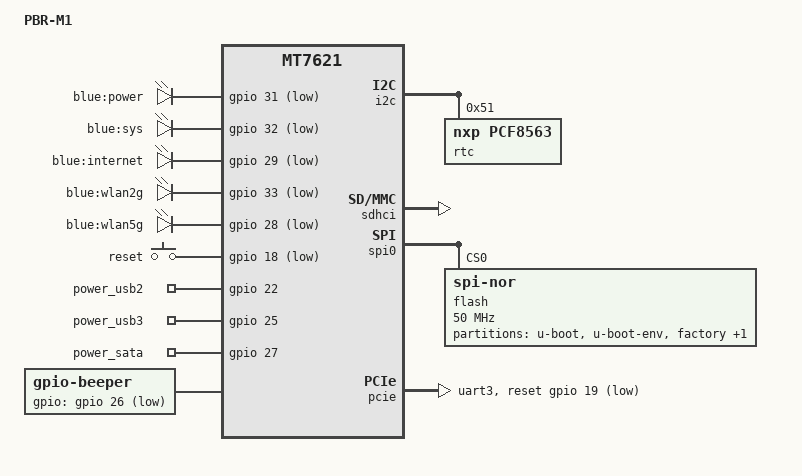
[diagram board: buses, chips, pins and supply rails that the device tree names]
#include "mt7621.dtsi"

#include <dt-bindings/gpio/gpio.h>
#include <dt-bindings/input/input.h>

/ {
	compatible = "d-team,pbr-m1", "mediatek,mt7621-soc";
	model = "PBR-M1";

	aliases {
		led-boot = &led_sys;
		led-failsafe = &led_sys;
		led-running = &led_sys;
		led-upgrade = &led_sys;
	};

	chosen {
		bootargs = "console=ttyS0,115200";
	};

	leds {
		compatible = "gpio-leds";

		power {
			label = "blue:power";
			gpios = <&gpio 31 GPIO_ACTIVE_LOW>;
			default-state = "on";
		};

		led_sys: sys {
			label = "blue:sys";
			gpios = <&gpio 32 GPIO_ACTIVE_LOW>;
		};

		internet {
			label = "blue:internet";
			gpios = <&gpio 29 GPIO_ACTIVE_LOW>;
		};

		wlan2g {
			label = "blue:wlan2g";
			gpios = <&gpio 33 GPIO_ACTIVE_LOW>;
		};

		wlan5g {
			label = "blue:wlan5g";
			gpios = <&gpio 28 GPIO_ACTIVE_LOW>;
		};
	};

	keys {
		compatible = "gpio-keys";

		reset {
			label = "reset";
			gpios = <&gpio 18 GPIO_ACTIVE_LOW>;
			linux,code = <KEY_RESTART>;
		};
	};

	gpio_export {
		compatible = "gpio-export";
		#size-cells = <0>;

		power_usb2 {
			gpio-export,name = "power_usb2";
			gpio-export,output = <1>;
			gpios = <&gpio 22 GPIO_ACTIVE_HIGH>;
		};

		power_usb3 {
			gpio-export,name = "power_usb3";
			gpio-export,output = <1>;
			gpios = <&gpio 25 GPIO_ACTIVE_HIGH>;
		};

		power_sata {
			gpio-export,name = "power_sata";
			gpio-export,output = <1>;
			gpios = <&gpio 27 GPIO_ACTIVE_HIGH>;
		};
	};

	beeper: beeper {
		compatible = "gpio-beeper";
		gpios = <&gpio 26 GPIO_ACTIVE_LOW>;
	};
};

&i2c {
	status = "okay";

	rtc@51 {
		status = "okay";
		compatible = "nxp,pcf8563";
		reg = <0x51>;
	};
};

&sdhci {
	status = "okay";
};

&spi0 {
	status = "okay";

	flash@0 {
		compatible = "jedec,spi-nor";
		reg = <0>;
		spi-max-frequency = <50000000>;
		m25p,fast-read;
		broken-flash-reset;

		partitions {
			compatible = "fixed-partitions";
			#address-cells = <1>;
			#size-cells = <1>;

			partition@0 {
				label = "u-boot";
				reg = <0x0 0x30000>;
				read-only;
			};

			partition@30000 {
				label = "u-boot-env";
				reg = <0x30000 0x10000>;
				read-only;
			};

			factory: partition@40000 {
				label = "factory";
				reg = <0x40000 0x10000>;
				read-only;
			};

			partition@50000 {
				compatible = "denx,uimage";
				label = "firmware";
				reg = <0x50000 0x1fb0000>;
			};
		};
	};
};

&pinctrl {
	uart3_gpio: uart3-gpio {
		uart3 {
			groups = "uart3";
			function = "gpio";
		};
	};
};

&pcie {
	status = "okay";
	pinctrl-0 = <&pcie_pins>, <&uart3_gpio>;
	reset-gpios = <&gpio 19 GPIO_ACTIVE_LOW>,
		      <&gpio 7 GPIO_ACTIVE_LOW>;
};

&pcie0 {
	mt76@0,0 {
		reg = <0x0000 0 0 0 0>;
		mediatek,mtd-eeprom = <&factory 0x8000>;
		ieee80211-freq-limit = <5000000 6000000>;
	};
};

&pcie1 {
	mt76@0,0 {
		reg = <0x0000 0 0 0 0>;
		mediatek,mtd-eeprom = <&factory 0x0000>;
	};
};

&ethernet {
	pinctrl-0 = <&mdio_pins>, <&rgmii1_pins>;
};

&gmac0 {
	nvmem-cells = <&macaddr_factory_e000>;
	nvmem-cell-names = "mac-address";
};

&switch0 {
	ports {
		port@0 {
			status = "okay";
			label = "lan1";
		};

		port@1 {
			status = "okay";
			label = "lan2";
		};

		port@2 {
			status = "okay";
			label = "lan3";
		};

		port@3 {
			status = "okay";
			label = "lan4";
		};

		port@4 {
			status = "okay";
			label = "wan";
			nvmem-cells = <&macaddr_factory_e006>;
			nvmem-cell-names = "mac-address";
		};
	};
};

&state_default {
	gpio {
		groups = "wdt", "rgmii2", "jtag";
		function = "gpio";
	};
};

&factory {
	compatible = "nvmem-cells";
	#address-cells = <1>;
	#size-cells = <1>;

	macaddr_factory_e000: macaddr@e000 {
		reg = <0xe000 0x6>;
	};

	macaddr_factory_e006: macaddr@e006 {
		reg = <0xe006 0x6>;
	};
};
